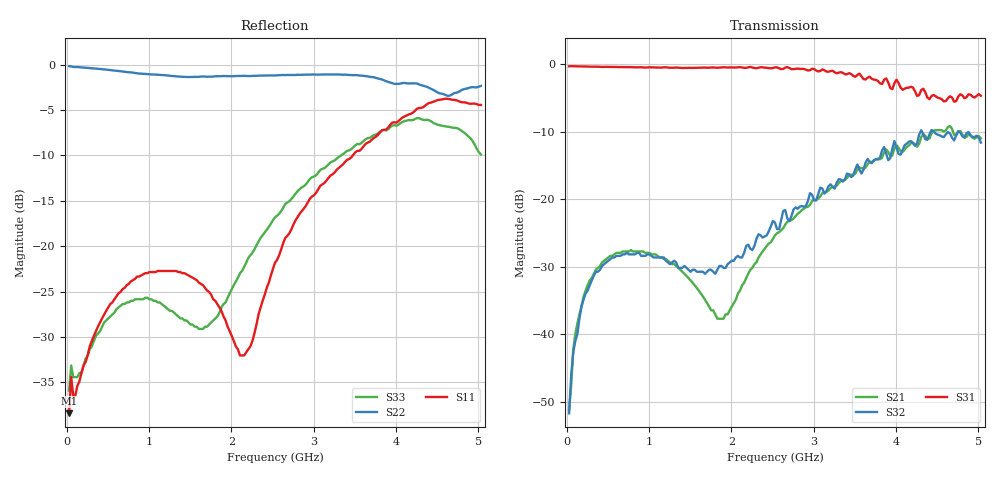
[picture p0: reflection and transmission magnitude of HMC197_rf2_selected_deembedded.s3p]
!Hittite Microwave Corporation
!12 Elizabeth Drive
!Chelmsford, MA 01824
!Tel: 978-250-3343
!Fax: 978-250-3373
!Device: HMC197, DC - 3 GHz SOT26 SPDT Switch
!Misc: Port 1 = RFC, Port 2 = RF1, Port 3 = RF2,  RF2 Selected, Bias: +5VDC
# MHZ S MA R 50
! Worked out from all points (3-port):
!   201 points, 30 MHz to 5.03 GHz, reference 50 ohm
!   strongest paths, dB at 30 MHz, 1.28 GHz, 2.53 GHz, 3.78 GHz, 5.03 GHz:
!     S31: -0.3, -0.5, -0.4, -2.5, -4.7
!     S32: -51.8, -29.4, -23.5, -14.1, -11.6
!     S21: -51.2, -29.6, -25.4, -14.0, -11.0
!   lowest |S11| = -38.4 dB at 30 MHz (marker M1), VSWR 1.02, Z = 51.1 - j0.467 ohm
!   |S11| at or under -10 dB: start of sweep to 3.476 GHz
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30  0.012 -22.4  0.002466 62.7  0.967 0.0
    0.002761 66.8  0.981 -7.2  0.002819 64.7
    0.968 0.0  0.002585 58.5  0.016 -14.8
130  0.017 -45.8  0.012 76.4  0.967 -1.6
     0.012 76.8  0.97 -28.8  0.01 80.7
     0.967 -1.5  0.01 81.2  0.019 -40.6
430  0.04 -70.0  0.033 51.3  0.959 -4.0
     0.034 50.5  0.944 -84.6  0.032 57.6
     0.958 -4.0  0.032 58.2  0.036 -78.1
755  0.062 -75.7  0.042 28.2  0.953 -6.5
     0.041 28.6  0.908 -127.4  0.039 43.2
     0.955 -6.5  0.039 42.4  0.049 -99.7
1105  0.073 -77.2  0.038 11.5  0.947 -9.1
      0.038 10.8  0.88 -161.3  0.037 39.7
      0.948 -9.2  0.037 40.2  0.049 -116.4
1930  0.039 -93.6  0.013 -101.5  0.945 -15.8
      0.014 -102.8  0.865 131.0  0.032 85.5
      0.95 -15.9  0.031 86.5  0.049 135.7
2155  0.025 -146.1  0.024 -146.1  0.944 -17.9
      0.024 -151.6  0.868 114.5  0.04 100.7
      0.943 -18.2  0.04 105.9  0.077 116.8
2530  0.081 142.7  0.055 175.7  0.953 -23.3
      0.054 -178.7  0.872 92.0  0.063 112.7
      0.951 -22.6  0.067 106.3  0.144 103.0
4105  0.519 127.3  0.244 134.8  0.682 -46.8
      0.234 135.5  0.793 47.8  0.242 97.7
      0.661 -45.4  0.252 100.8  0.489 75.9
5030  0.6 100.1  0.276 102.7  0.569 -45.2
      0.283 100.1  0.763 29.5  0.261 49.4
      0.585 -47.0  0.263 47.6  0.32 56.2
